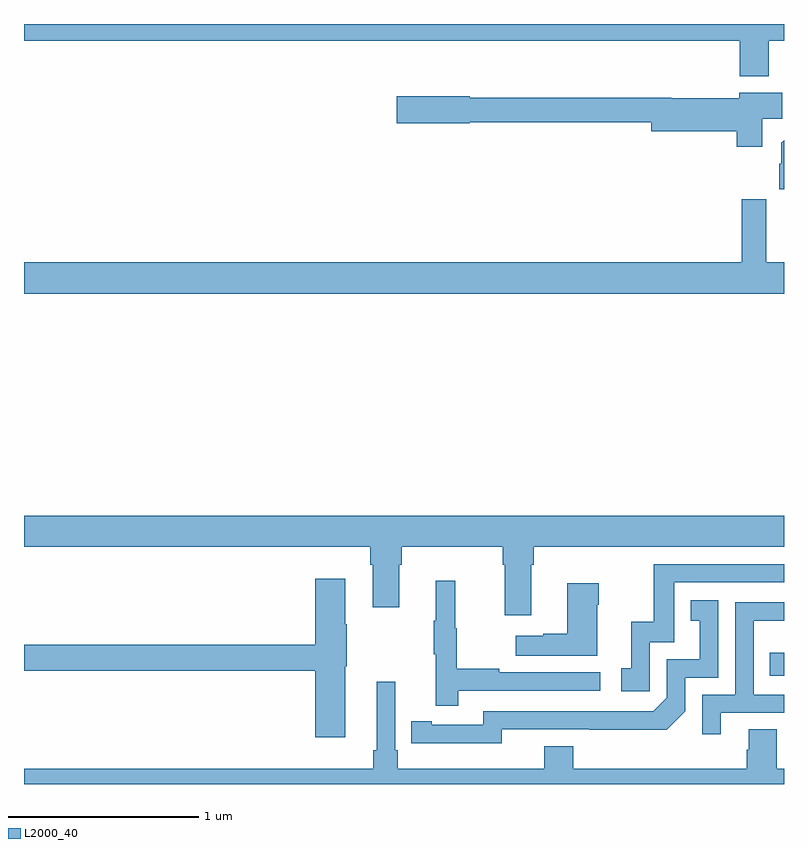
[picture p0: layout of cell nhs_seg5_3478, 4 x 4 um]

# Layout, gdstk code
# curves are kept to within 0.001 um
import gdstk
lib = gdstk.Library(unit=1e-6, precision=1e-09)
def R(c, l, rs):  # rectangles x0, y0, x1, y1
    for r in rs: c.add(gdstk.rectangle(r[:2], r[2:], *l))
def P(c, l, *ps):  # polygons
    for p in ps: c.add(gdstk.Polygon(p, *l))
L2000_40 = (2000, 40)

nhs_seg5_3478 = lib.new_cell('nhs_seg5_3478')
R(nhs_seg5_3478, L2000_40, [(318.925,901.368,319,901.491)])
P(nhs_seg5_3478, L2000_40, [(318.919,904.712),(319,904.712),(319,904.799),(315,904.799),(315,904.712),(318.767,904.712),(318.767,904.523),(318.919,904.523)],
  [(318.886,904.3),(318.991,904.3),(318.991,904.438),(318.764,904.438),(318.764,904.407),(318.406,904.407),(318.406,904.411),(317.346,904.411),(317.346,904.419),(316.962,904.419),(316.962,904.277),(317.346,904.277),(317.346,904.282),(318.302,904.282),(318.302,904.235),(318.752,904.235),(318.752,904.152),(318.886,904.152)],
  [(319,904.188),(318.986,904.174),(318.986,904.064),(318.974,904.064),(318.974,903.93),(319,903.93)],
  [(319,903.544),(318.907,903.544),(318.907,903.877),(318.778,903.877),(318.778,903.544),(315,903.544),(315,903.38),(319,903.38)],
  [(317.671,901.952),(317.684,901.952),(317.684,902.048),(319,902.048),(319,902.212),(315,902.212),(315,902.048),(316.823,902.048),(316.823,901.952),(316.835,901.952),(316.835,901.728),(316.975,901.728),(316.975,901.952),(316.988,901.952),(316.988,902.048),(317.519,902.048),(317.519,901.952),(317.531,901.952),(317.531,901.686),(317.671,901.686)],
  [(318.294,901.545),(318.423,901.545),(318.423,901.86),(319,901.86),(319,901.956),(318.315,901.956),(318.315,901.654),(318.197,901.654),(318.197,901.407),(318.144,901.407),(318.144,901.287),(318.294,901.287)],
  [(316.69,901.419),(316.698,901.419),(316.698,901.64),(316.69,901.64),(316.69,901.879),(316.532,901.879),(316.532,901.532),(315,901.532),(315,901.396),(316.532,901.396),(316.532,901.044),(316.69,901.044)],
  [(317.285,901.29),(318.034,901.29),(318.034,901.386),(317.501,901.386),(317.501,901.406),(317.278,901.406),(317.278,901.62),(317.27,901.62),(317.27,901.87),(317.168,901.87),(317.168,901.657),(317.157,901.657),(317.157,901.483),(317.168,901.483),(317.168,901.212),(317.285,901.212)],
  [(318.016,901.742),(318.024,901.742),(318.024,901.855),(317.858,901.855),(317.858,901.589),(317.732,901.589),(317.732,901.579),(317.589,901.579),(317.589,901.475),(318.016,901.475)],
  [(317.514,901.086),(318.382,901.085),(318.48,901.182),(318.48,901.359),(318.654,901.359),(318.654,901.765),(318.508,901.765),(318.508,901.659),(318.557,901.659),(318.557,901.455),(318.384,901.455),(318.384,901.254),(318.312,901.182),(317.418,901.182),(317.418,901.11),(317.146,901.11),(317.146,901.13),(317.038,901.13),(317.038,901.014),(317.514,901.013)],
  [(318.667,901.173),(319,901.173),(319,901.269),(318.84,901.269),(318.84,901.658),(319,901.658),(319,901.755),(318.744,901.755),(318.744,901.269),(318.57,901.269),(318.57,901.062),(318.667,901.062)],
  [(319,900.88),(318.963,900.88),(318.963,901.088),(318.815,901.088),(318.815,900.978),(318.803,900.978),(318.803,900.88),(317.891,900.88),(317.891,900.997),(317.738,900.997),(317.738,900.88),(316.967,900.88),(316.967,900.976),(316.953,900.976),(316.953,901.336),(316.856,901.336),(316.856,900.976),(316.837,900.976),(316.837,900.88),(315,900.88),(315,900.799),(319,900.799)])

lib.write_gds('nhs_seg5_3478.gds')
